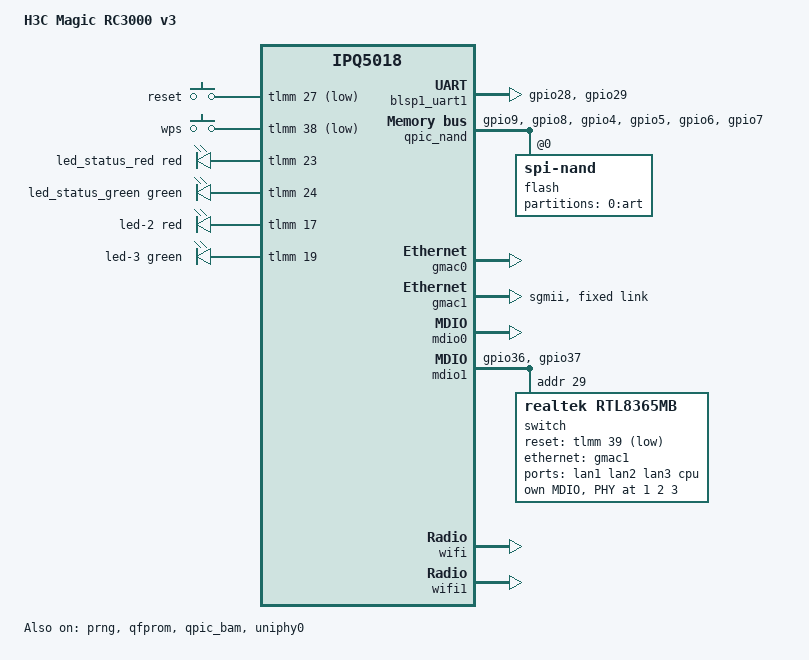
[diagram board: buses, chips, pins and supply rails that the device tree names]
// SPDX-License-Identifier: GPL-2.0-or-later OR MIT

/dts-v1/;

#include "ipq5018.dtsi"
#include "ipq5018-ess.dtsi"
#include "ipq5018-qcn6122.dtsi"

#include <dt-bindings/gpio/gpio.h>
#include <dt-bindings/input/input.h>
#include <dt-bindings/leds/common.h>

/ {
	model = "H3C Magic RC3000 v3";
	compatible = "h3c,magic-rc3000-v3", "qcom,ipq5018";

	aliases {
		serial0 = &blsp1_uart1;
		label-mac-device = &gmac0;
		led-boot = &led_status_green;
		led-failsafe = &led_status_red;
		led-running = &led_status_green;
		led-upgrade = &led_status_red;
	};

	chosen {
		bootargs-append = " root=/dev/ubiblock0_1 swiotlb=1 coherent_pool=2M";
		stdout-path = "serial0:115200n8";
	};

	keys {
		compatible = "gpio-keys";
		pinctrl-0 = <&button_pins>;
		pinctrl-names = "default";

		button-reset {
			label = "reset";
			gpios = <&tlmm 27 GPIO_ACTIVE_LOW>;
			linux,code = <KEY_RESTART>;
		};

		button-wps {
			label = "wps";
			gpios = <&tlmm 38 GPIO_ACTIVE_LOW>;
			linux,code = <KEY_WPS_BUTTON>;
		};
	};

	leds {
		compatible = "gpio-leds";
		pinctrl-0 = <&led_pins>;
		pinctrl-names = "default";

		led_status_red: led-0 {
			color = <LED_COLOR_ID_RED>;
			function = LED_FUNCTION_STATUS;
			gpios = <&tlmm 23 GPIO_ACTIVE_HIGH>;
		};

		led_status_green: led-1 {
			color = <LED_COLOR_ID_GREEN>;
			function = LED_FUNCTION_STATUS;
			gpios = <&tlmm 24 GPIO_ACTIVE_HIGH>;
		};

		/* the system LED is driven as two pairs */
		led-2 {
			color = <LED_COLOR_ID_RED>;
			function = LED_FUNCTION_STATUS;
			function-enumerator = <1>;
			gpios = <&tlmm 17 GPIO_ACTIVE_HIGH>;
		};

		led-3 {
			color = <LED_COLOR_ID_GREEN>;
			function = LED_FUNCTION_STATUS;
			function-enumerator = <1>;
			gpios = <&tlmm 19 GPIO_ACTIVE_HIGH>;
		};
	};
};

/* the stock TZ takes 4 MiB here (upstream reserves 2 MiB) */
&tz_region {
	reg = <0x0 0x4ac00000 0x0 0x400000>;
};

&sleep_clk {
	clock-frequency = <32000>;
};

&xo_board_clk {
	clock-div = <4>;
	clock-mult = <1>;
};

&blsp1_uart1 {
	status = "okay";

	pinctrl-0 = <&serial_0_pins>;
	pinctrl-names = "default";
};

&prng {
	status = "okay";
};

&qfprom {
	status = "okay";
};

&qpic_bam {
	status = "okay";
};

&qpic_nand {
	pinctrl-0 = <&qpic_pins>;
	pinctrl-names = "default";
	status = "okay";

	flash@0 {
		compatible = "spi-nand";
		reg = <0>;
		nand-ecc-engine = <&qpic_nand>;
		nand-bus-width = <8>;

		partitions {
			compatible = "qcom,smem-part";

			partition-0-art {
				label = "0:art";
				read-only;
			};
		};
	};
};

&uniphy0 {
	status = "okay";

	assigned-clocks = <&uniphy0 UNIPHY_CLK_REF>;
	assigned-clock-rates = <UNIPHY_REFCLK_25MHZ>;
};

/* MAC0 -> IPQ5018 GE PHY (WAN) */
&gmac0 {
	status = "okay";

	label = "wan";
};

/* MAC1 ---SGMII---> RTL8367S port 6 (LAN) */
&gmac1 {
	status = "okay";

	phy-mode = "sgmii";

	fixed-link {
		speed = <1000>;
		full-duplex;
	};
};

&mdio0 {
	status = "okay";
};

&mdio1 {
	status = "okay";

	pinctrl-0 = <&mdio1_pins>;
	pinctrl-names = "default";
	/* without a fixed rate the driver inherits a divider from U-Boot
	 * that it then rejects (-EINVAL)
	 */
	clock-frequency = <1562500>;

	/* RTL8367S at MDIO address 29, reset on GPIO39; LAN1-3 = ports 1-3,
	 * ports 0 and 4 are not wired
	 */
	switch@1d {
		compatible = "realtek,rtl8365mb";
		reg = <0x1d>;
		reset-gpios = <&tlmm 39 GPIO_ACTIVE_LOW>;

		mdio {
			compatible = "realtek,smi-mdio";
			#address-cells = <1>;
			#size-cells = <0>;

			switchphy1: ethernet-phy@1 {
				reg = <1>;
			};

			switchphy2: ethernet-phy@2 {
				reg = <2>;
			};

			switchphy3: ethernet-phy@3 {
				reg = <3>;
			};
		};

		ports {
			#address-cells = <1>;
			#size-cells = <0>;

			port@1 {
				reg = <1>;
				label = "lan1";
				phy-handle = <&switchphy1>;
			};

			port@2 {
				reg = <2>;
				label = "lan2";
				phy-handle = <&switchphy2>;
			};

			port@3 {
				reg = <3>;
				label = "lan3";
				phy-handle = <&switchphy3>;
			};

			port@6 {
				reg = <6>;
				label = "cpu";
				ethernet = <&gmac1>;
				phy-mode = "sgmii";

				fixed-link {
					speed = <1000>;
					full-duplex;
				};
			};
		};
	};
};

&tlmm {
	button_pins: button-state {
		pins = "gpio27", "gpio38";
		function = "gpio";
		drive-strength = <8>;
		bias-pull-up;
	};

	led_pins: led-state {
		pins = "gpio17", "gpio19", "gpio23", "gpio24";
		function = "gpio";
		drive-strength = <8>;
		bias-disable;
	};

	mdio1_pins: mdio-state {
		mdc-pins {
			pins = "gpio36";
			function = "mdc";
			drive-strength = <8>;
			bias-pull-up;
		};

		mdio-pins {
			pins = "gpio37";
			function = "mdio";
			drive-strength = <8>;
			bias-pull-up;
		};
	};

	qpic_pins: qpic-state {
		clock-pins {
			pins = "gpio9";
			function = "qspi_clk";
			drive-strength = <8>;
			bias-disable;
		};

		cs-pins {
			pins = "gpio8";
			function = "qspi_cs";
			drive-strength = <8>;
			bias-disable;
		};

		data-pins {
			pins = "gpio4", "gpio5", "gpio6", "gpio7";
			function = "qspi_data";
			drive-strength = <8>;
			bias-disable;
		};
	};

	serial_0_pins: uart0-state {
		pins = "gpio28", "gpio29";
		function = "blsp0_uart1";
		drive-strength = <8>;
		bias-disable;
	};
};

&q6v5_wcss {
	/* QCN6122 on PCIe1 as user PD 2, reset on GPIO18 */
	boot-args = <0x2 4 2 18 0 0>;
};

/* 256 MiB of RAM: low-memory firmware mode */
&wifi {
	status = "okay";

	qcom,rproc = <&q6_wcss_pd1>;
	qcom,calibration-variant = "H3C-Magic-RC3000-v3";
	qcom,ath11k-fw-memory-mode = <2>;
	qcom,bdf-addr = <0x4c400000>;

	ieee80211-freq-limit = <2400000 2483000>;
};

&wifi1 {
	status = "okay";

	qcom,rproc = <&q6_wcss_pd2>;
	qcom,userpd-subsys-name = "q6v5_wcss_userpd2";
	qcom,calibration-variant = "H3C-Magic-RC3000-v3";
	qcom,ath11k-fw-memory-mode = <2>;
	qcom,bdf-addr = <0x4d100000>;
	qcom,m3-dump-addr = <0x4df00000>;

	ieee80211-freq-limit = <5150000 5850000>;
};
